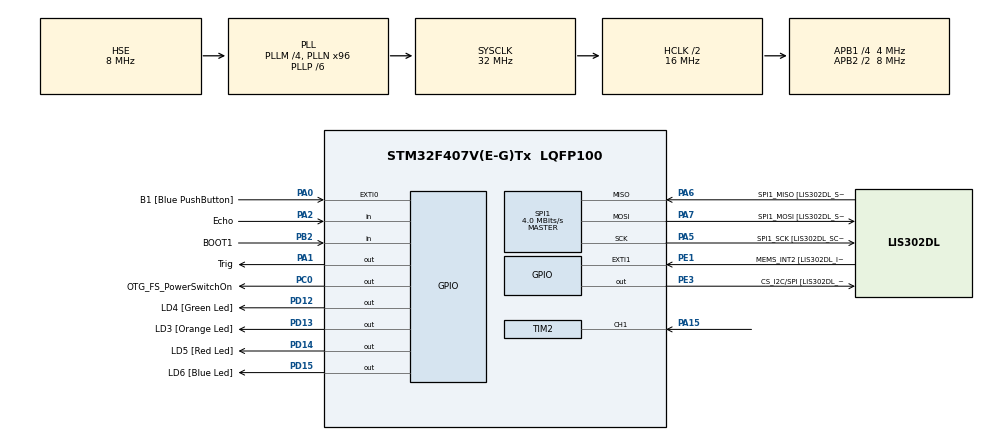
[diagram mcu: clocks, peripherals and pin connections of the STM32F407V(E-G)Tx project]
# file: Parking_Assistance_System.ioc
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Mcu.Family=STM32F4
Mcu.Name=STM32F407V(E-G)Tx
Mcu.Package=LQFP100
NVIC.PriorityGroup=NVIC_PRIORITYGROUP_0
NVIC.TIM2_IRQn=true\:0\:0\:false\:false\:true\:true\:true\:true
PA0-WKUP.GPIO_Label=B1 [Blue PushButton]
PA0-WKUP.GPIO_ModeDefaultEXTI=GPIO_MODE_EVT_RISING
PA0-WKUP.GPIO_PuPd=GPIO_NOPULL
PA0-WKUP.Signal=GPXTI0
PA1.GPIO_Label=Trig
PA1.Signal=GPIO_Output
PA13.GPIO_Label=SWDIO
PA13.Mode=Serial_Wire
PA13.Signal=SYS_JTMS-SWDIO
PA14.GPIO_Label=SWCLK
PA14.Mode=Serial_Wire
PA14.Signal=SYS_JTCK-SWCLK
PA15.Signal=S_TIM2_CH1_ETR
PA2.GPIO_Label=Echo
PA2.GPIO_PuPd=GPIO_PULLDOWN
PA2.Signal=GPIO_Input
PA5.GPIO_Label=SPI1_SCK [LIS302DL_SCL/SPC]
PA5.GPIO_Mode=GPIO_MODE_AF_PP
PA5.GPIO_PuPd=GPIO_NOPULL
PA5.GPIO_Speed=GPIO_SPEED_FREQ_LOW
PA5.Mode=Full_Duplex_Master
PA5.Signal=SPI1_SCK
PA6.GPIO_Label=SPI1_MISO [LIS302DL_SDO]
PA6.GPIO_Mode=GPIO_MODE_AF_PP
PA6.GPIO_PuPd=GPIO_NOPULL
PA6.GPIO_Speed=GPIO_SPEED_FREQ_LOW
PA6.Mode=Full_Duplex_Master
PA6.Signal=SPI1_MISO
PA7.GPIO_Label=SPI1_MOSI [LIS302DL_SDA/SDI/SDO]
PA7.GPIO_Mode=GPIO_MODE_AF_PP
PA7.GPIO_PuPd=GPIO_NOPULL
PA7.GPIO_Speed=GPIO_SPEED_FREQ_LOW
PA7.Mode=Full_Duplex_Master
PA7.Signal=SPI1_MOSI
PB2.GPIO_Label=BOOT1
PB2.GPIO_Mode=GPIO_MODE_INPUT
PB2.GPIO_PuPd=GPIO_NOPULL
PB2.Signal=GPIO_Input
PB3.GPIO_Label=SWO
PB3.Signal=SYS_JTDO-SWO
PC0.GPIO_Label=OTG_FS_PowerSwitchOn
PC0.GPIO_PuPd=GPIO_NOPULL
PC0.GPIO_Speed=GPIO_SPEED_FREQ_LOW
PC0.PinState=GPIO_PIN_SET
PC0.Signal=GPIO_Output
PC14-OSC32_IN.GPIO_Label=PC14-OSC32_IN
PC14-OSC32_IN.Mode=LSE-External-Oscillator
PC14-OSC32_IN.Signal=RCC_OSC32_IN
PC15-OSC32_OUT.GPIO_Label=PC15-OSC32_OUT
PC15-OSC32_OUT.Mode=LSE-External-Oscillator
PC15-OSC32_OUT.Signal=RCC_OSC32_OUT
PD12.GPIO_Label=LD4 [Green Led]
PD12.GPIO_PuPd=GPIO_NOPULL
PD12.GPIO_Speed=GPIO_SPEED_FREQ_LOW
PD12.Signal=GPIO_Output
PD13.GPIO_Label=LD3 [Orange Led]
PD13.GPIO_PuPd=GPIO_NOPULL
PD13.GPIO_Speed=GPIO_SPEED_FREQ_LOW
PD13.Signal=GPIO_Output
PD14.GPIO_Label=LD5 [Red Led]
PD14.GPIO_PuPd=GPIO_NOPULL
PD14.GPIO_Speed=GPIO_SPEED_FREQ_LOW
PD14.Signal=GPIO_Output
PD15.GPIO_Label=LD6 [Blue Led]
PD15.GPIO_PuPd=GPIO_NOPULL
PD15.GPIO_Speed=GPIO_SPEED_FREQ_LOW
PD15.Signal=GPIO_Output
PE1.GPIO_Label=MEMS_INT2 [LIS302DL_INT2]
PE1.GPIO_ModeDefaultEXTI=GPIO_MODE_EVT_RISING
PE1.GPIO_PuPd=GPIO_NOPULL
PE1.Signal=GPXTI1
PE3.GPIO_Label=CS_I2C/SPI [LIS302DL_CS_I2C/SPI]
PE3.GPIO_PuPd=GPIO_NOPULL
PE3.GPIO_Speed=GPIO_SPEED_FREQ_LOW
PE3.Signal=GPIO_Output
PH0-OSC_IN.GPIO_Label=PH0-OSC_IN
PH0-OSC_IN.Mode=HSE-External-Oscillator
PH0-OSC_IN.Signal=RCC_OSC_IN
PH1-OSC_OUT.GPIO_Label=PH1-OSC_OUT
PH1-OSC_OUT.Mode=HSE-External-Oscillator
PH1-OSC_OUT.Signal=RCC_OSC_OUT
ProjectManager.HeapSize=0x200
ProjectManager.StackSize=0x400
ProjectManager.TargetToolchain=STM32CubeIDE
RCC.48MHZClocksFreq_Value=48000000
RCC.AHBCLKDivider=RCC_SYSCLK_DIV2
RCC.AHBFreq_Value=16000000
RCC.APB1CLKDivider=RCC_HCLK_DIV4
RCC.APB1Freq_Value=4000000
RCC.APB1TimFreq_Value=8000000
RCC.APB2CLKDivider=RCC_HCLK_DIV2
RCC.APB2Freq_Value=8000000
RCC.APB2TimFreq_Value=16000000
RCC.CortexFreq_Value=16000000
RCC.HCLKFreq_Value=16000000
RCC.HSE_VALUE=8000000
RCC.HSI_VALUE=16000000
RCC.PLLI2SN=50
RCC.PLLM=4
RCC.PLLN=96
RCC.PLLP=RCC_PLLP_DIV6
RCC.PLLSourceVirtual=RCC_PLLSOURCE_HSE
RCC.SYSCLKFreq_VALUE=32000000
RCC.SYSCLKSource=RCC_SYSCLKSOURCE_PLLCLK
RCC.VCOOutputFreq_Value=192000000
SH.S_TIM2_CH1_ETR.0=TIM2_CH1,Input_Capture1_from_TI1
SPI1.BaudRatePrescaler-Full_Duplex_Master=SPI_BAUDRATEPRESCALER_2
SPI1.CalculateBaudRate=4.0 MBits/s
SPI1.CalculateBaudRate-Full_Duplex_Master=42.0 MBits/s
SPI1.Direction=SPI_DIRECTION_2LINES
SPI1.Mode=SPI_MODE_MASTER
SPI1.Mode-Full_Duplex_Master=SPI_MODE_MASTER
SPI1.VirtualType=VM_MASTER
TIM2.Channel-Input_Capture1_from_TI1=TIM_CHANNEL_1
TIM2.ICPolarity_CH1=TIM_INPUTCHANNELPOLARITY_BOTHEDGE
TIM2.Prescaler=16-1
VP_TIM2_VS_ClockSourceINT.Mode=Internal
VP_TIM2_VS_ClockSourceITR.Mode=TriggerSource_ITR2
board=STM32F407G-DISC1

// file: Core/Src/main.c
/* USER CODE BEGIN Header */
/**
  ******************************************************************************
  * @file           : main.c
  * @brief          : Main program body
  ******************************************************************************
  * @attention
  *
  * Copyright (c) 2024 STMicroelectronics.
  * All rights reserved.
  *
  * This software is licensed under terms that can be found in the LICENSE file
  * in the root directory of this software component.
  * If no LICENSE file comes with this software, it is provided AS-IS.
  *
  ******************************************************************************
  */
/* USER CODE END Header */
#include "main.h"

/* USER CODE BEGIN Includes */
#include "HCSR04_Sensor.h"
/* USER CODE END Includes */

/* USER CODE BEGIN PD */
#define CHANNEL_1  1
/* USER CODE END PD */

SPI_HandleTypeDef hspi1;

TIM_HandleTypeDef htim2;

void SystemClock_Config(void);
static void MX_GPIO_Init(void);
static void MX_SPI1_Init(void);
static void MX_TIM2_Init(void);

/* USER CODE BEGIN 0 */
uint32_t ic_val1 = 0, ic_val2 = 0;
uint32_t difference = 0;
uint8_t is_first_captured = 0; // Is the first value captured?
float distance = 0.0;
/* USER CODE END 0 */

int main(void)
{

  /* MCU Configuration--------------------------------------------------------*/

  /* Reset of all peripherals, Initializes the Flash interface and the Systick. */
  HAL_Init();

  /* Configure the system clock */
  SystemClock_Config();

  /* Initialize all configured peripherals */
  MX_GPIO_Init();
  MX_SPI1_Init();
  MX_TIM2_Init();
  /* USER CODE BEGIN 2 */
  HAL_TIM_IC_Start_IT(&htim2, CHANNEL_1);
  /* USER CODE END 2 */

  /* Infinite loop */
  while (1)
  {

    /* USER CODE BEGIN 3 */
	  TriggerSensor();
  }
  /* USER CODE END 3 */
}

void SystemClock_Config(void)
{
  RCC_OscInitTypeDef RCC_OscInitStruct = {0};
  RCC_ClkInitTypeDef RCC_ClkInitStruct = {0};

  /** Configure the main internal regulator output voltage
  */
  __HAL_RCC_PWR_CLK_ENABLE();
  __HAL_PWR_VOLTAGESCALING_CONFIG(PWR_REGULATOR_VOLTAGE_SCALE1);

  /** Initializes the RCC Oscillators according to the specified parameters
  * in the RCC_OscInitTypeDef structure.
  */
  RCC_OscInitStruct.OscillatorType = RCC_OSCILLATORTYPE_HSE;
  RCC_OscInitStruct.HSEState = RCC_HSE_ON;
  RCC_OscInitStruct.PLL.PLLState = RCC_PLL_ON;
  RCC_OscInitStruct.PLL.PLLSource = RCC_PLLSOURCE_HSE;
  RCC_OscInitStruct.PLL.PLLM = 4;
  RCC_OscInitStruct.PLL.PLLN = 96;
  RCC_OscInitStruct.PLL.PLLP = RCC_PLLP_DIV6;
  RCC_OscInitStruct.PLL.PLLQ = 4;
  if (HAL_RCC_OscConfig(&RCC_OscInitStruct) != HAL_OK)
  {
    Error_Handler();
  }

  /** Initializes the CPU, AHB and APB buses clocks
  */
  RCC_ClkInitStruct.ClockType = RCC_CLOCKTYPE_HCLK|RCC_CLOCKTYPE_SYSCLK
                              |RCC_CLOCKTYPE_PCLK1|RCC_CLOCKTYPE_PCLK2;
  RCC_ClkInitStruct.SYSCLKSource = RCC_SYSCLKSOURCE_PLLCLK;
  RCC_ClkInitStruct.AHBCLKDivider = RCC_SYSCLK_DIV2;
  RCC_ClkInitStruct.APB1CLKDivider = RCC_HCLK_DIV4;
  RCC_ClkInitStruct.APB2CLKDivider = RCC_HCLK_DIV2;

  if (HAL_RCC_ClockConfig(&RCC_ClkInitStruct, FLASH_LATENCY_0) != HAL_OK)
  {
    Error_Handler();
  }
}

static void MX_SPI1_Init(void)
{

  /* SPI1 parameter configuration*/
  hspi1.Instance = SPI1;
  hspi1.Init.Mode = SPI_MODE_MASTER;
  hspi1.Init.Direction = SPI_DIRECTION_2LINES;
  hspi1.Init.DataSize = SPI_DATASIZE_8BIT;
  hspi1.Init.CLKPolarity = SPI_POLARITY_LOW;
  hspi1.Init.CLKPhase = SPI_PHASE_1EDGE;
  hspi1.Init.NSS = SPI_NSS_SOFT;
  hspi1.Init.BaudRatePrescaler = SPI_BAUDRATEPRESCALER_2;
  hspi1.Init.FirstBit = SPI_FIRSTBIT_MSB;
  hspi1.Init.TIMode = SPI_TIMODE_DISABLE;
  hspi1.Init.CRCCalculation = SPI_CRCCALCULATION_DISABLE;
  hspi1.Init.CRCPolynomial = 10;
  if (HAL_SPI_Init(&hspi1) != HAL_OK)
  {
    Error_Handler();
  }

}

static void MX_TIM2_Init(void)
{

  TIM_ClockConfigTypeDef sClockSourceConfig = {0};
  TIM_SlaveConfigTypeDef sSlaveConfig = {0};
  TIM_MasterConfigTypeDef sMasterConfig = {0};
  TIM_IC_InitTypeDef sConfigIC = {0};

  htim2.Instance = TIM2;
  htim2.Init.Prescaler = 16-1;
  htim2.Init.CounterMode = TIM_COUNTERMODE_UP;
  htim2.Init.Period = 4294967295;
  htim2.Init.ClockDivision = TIM_CLOCKDIVISION_DIV1;
  htim2.Init.AutoReloadPreload = TIM_AUTORELOAD_PRELOAD_DISABLE;
  if (HAL_TIM_Base_Init(&htim2) != HAL_OK)
  {
    Error_Handler();
  }
  sClockSourceConfig.ClockSource = TIM_CLOCKSOURCE_INTERNAL;
  if (HAL_TIM_ConfigClockSource(&htim2, &sClockSourceConfig) != HAL_OK)
  {
    Error_Handler();
  }
  if (HAL_TIM_IC_Init(&htim2) != HAL_OK)
  {
    Error_Handler();
  }
  sSlaveConfig.SlaveMode = TIM_SLAVEMODE_DISABLE;
  sSlaveConfig.InputTrigger = TIM_TS_ITR2;
  if (HAL_TIM_SlaveConfigSynchro(&htim2, &sSlaveConfig) != HAL_OK)
  {
    Error_Handler();
  }
  sMasterConfig.MasterOutputTrigger = TIM_TRGO_RESET;
  sMasterConfig.MasterSlaveMode = TIM_MASTERSLAVEMODE_DISABLE;
  if (HAL_TIMEx_MasterConfigSynchronization(&htim2, &sMasterConfig) != HAL_OK)
  {
    Error_Handler();
  }
  sConfigIC.ICPolarity = TIM_INPUTCHANNELPOLARITY_BOTHEDGE;
  sConfigIC.ICSelection = TIM_ICSELECTION_DIRECTTI;
  sConfigIC.ICPrescaler = TIM_ICPSC_DIV1;
  sConfigIC.ICFilter = 0;
  if (HAL_TIM_IC_ConfigChannel(&htim2, &sConfigIC, TIM_CHANNEL_1) != HAL_OK)
  {
    Error_Handler();
  }

}

static void MX_GPIO_Init(void)
{
  GPIO_InitTypeDef GPIO_InitStruct = {0};

  /* GPIO Ports Clock Enable */
  __HAL_RCC_GPIOE_CLK_ENABLE();
  __HAL_RCC_GPIOC_CLK_ENABLE();
  __HAL_RCC_GPIOH_CLK_ENABLE();
  __HAL_RCC_GPIOA_CLK_ENABLE();
  __HAL_RCC_GPIOB_CLK_ENABLE();
  __HAL_RCC_GPIOD_CLK_ENABLE();

  /*Configure GPIO pin Output Level */
  HAL_GPIO_WritePin(CS_I2C_SPI_GPIO_Port, CS_I2C_SPI_Pin, GPIO_PIN_RESET);

  /*Configure GPIO pin Output Level */
  HAL_GPIO_WritePin(OTG_FS_PowerSwitchOn_GPIO_Port, OTG_FS_PowerSwitchOn_Pin, GPIO_PIN_SET);

  /*Configure GPIO pin Output Level */
  HAL_GPIO_WritePin(Trig_GPIO_Port, Trig_Pin, GPIO_PIN_RESET);

  /*Configure GPIO pin Output Level */
  HAL_GPIO_WritePin(GPIOD, LD4_Pin|LD3_Pin|LD5_Pin|LD6_Pin, GPIO_PIN_RESET);

  /*Configure GPIO pin : CS_I2C_SPI_Pin */
  GPIO_InitStruct.Pin = CS_I2C_SPI_Pin;
  GPIO_InitStruct.Mode = GPIO_MODE_OUTPUT_PP;
  GPIO_InitStruct.Pull = GPIO_NOPULL;
  GPIO_InitStruct.Speed = GPIO_SPEED_FREQ_LOW;
  HAL_GPIO_Init(CS_I2C_SPI_GPIO_Port, &GPIO_InitStruct);

  /*Configure GPIO pin : OTG_FS_PowerSwitchOn_Pin */
  GPIO_InitStruct.Pin = OTG_FS_PowerSwitchOn_Pin;
  GPIO_InitStruct.Mode = GPIO_MODE_OUTPUT_PP;
  GPIO_InitStruct.Pull = GPIO_NOPULL;
  GPIO_InitStruct.Speed = GPIO_SPEED_FREQ_LOW;
  HAL_GPIO_Init(OTG_FS_PowerSwitchOn_GPIO_Port, &GPIO_InitStruct);

  /*Configure GPIO pin : B1_Pin */
  GPIO_InitStruct.Pin = B1_Pin;
  GPIO_InitStruct.Mode = GPIO_MODE_EVT_RISING;
  GPIO_InitStruct.Pull = GPIO_NOPULL;
  HAL_GPIO_Init(B1_GPIO_Port, &GPIO_InitStruct);

  /*Configure GPIO pin : Trig_Pin */
  GPIO_InitStruct.Pin = Trig_Pin;
  GPIO_InitStruct.Mode = GPIO_MODE_OUTPUT_PP;
  GPIO_InitStruct.Pull = GPIO_NOPULL;
  GPIO_InitStruct.Speed = GPIO_SPEED_FREQ_LOW;
  HAL_GPIO_Init(Trig_GPIO_Port, &GPIO_InitStruct);

  /*Configure GPIO pin : Echo_Pin */
  GPIO_InitStruct.Pin = Echo_Pin;
  GPIO_InitStruct.Mode = GPIO_MODE_INPUT;
  GPIO_InitStruct.Pull = GPIO_PULLDOWN;
  HAL_GPIO_Init(Echo_GPIO_Port, &GPIO_InitStruct);

  /*Configure GPIO pin : BOOT1_Pin */
  GPIO_InitStruct.Pin = BOOT1_Pin;
  GPIO_InitStruct.Mode = GPIO_MODE_INPUT;
  GPIO_InitStruct.Pull = GPIO_NOPULL;
  HAL_GPIO_Init(BOOT1_GPIO_Port, &GPIO_InitStruct);

  /*Configure GPIO pins : LD4_Pin LD3_Pin LD5_Pin LD6_Pin */
  GPIO_InitStruct.Pin = LD4_Pin|LD3_Pin|LD5_Pin|LD6_Pin;
  GPIO_InitStruct.Mode = GPIO_MODE_OUTPUT_PP;
  GPIO_InitStruct.Pull = GPIO_NOPULL;
  GPIO_InitStruct.Speed = GPIO_SPEED_FREQ_LOW;
  HAL_GPIO_Init(GPIOD, &GPIO_InitStruct);

  /*Configure GPIO pin : MEMS_INT2_Pin */
  GPIO_InitStruct.Pin = MEMS_INT2_Pin;
  GPIO_InitStruct.Mode = GPIO_MODE_EVT_RISING;
  GPIO_InitStruct.Pull = GPIO_NOPULL;
  HAL_GPIO_Init(MEMS_INT2_GPIO_Port, &GPIO_InitStruct);

}

/* USER CODE BEGIN 4 */
void HAL_TIM_IC_CaptureCallback(TIM_HandleTypeDef *htim){
	if (htim->Channel == HAL_TIM_ACTIVE_CHANNEL_1) {
		if (is_first_captured == 0) {
			ic_val1 = HAL_TIM_ReadCapturedValue(htim, TIM_CHANNEL_1); // Get first value
			is_first_captured = 1; // First value captured
			__HAL_TIM_SET_CAPTUREPOLARITY(htim, TIM_CHANNEL_1,
					TIM_INPUTCHANNELPOLARITY_FALLING);
		} else if (is_first_captured == 1) {
			ic_val2 = HAL_TIM_ReadCapturedValue(htim, TIM_CHANNEL_1); // Get second value
			__HAL_TIM_SET_CAPTUREPOLARITY(htim, TIM_CHANNEL_1,
					TIM_INPUTCHANNELPOLARITY_RISING);
			is_first_captured = 0; // Reset flag

			if (ic_val2 > ic_val1) {
				difference = ic_val2 - ic_val1;
			} else {
				difference = (0xFFFF - ic_val1) + ic_val2;
			}

			distance = CalculateDistance(difference);
		}
	}
}

/* USER CODE END 4 */

void Error_Handler(void)
{
  __disable_irq();
  while (1)
  {
  }
}
